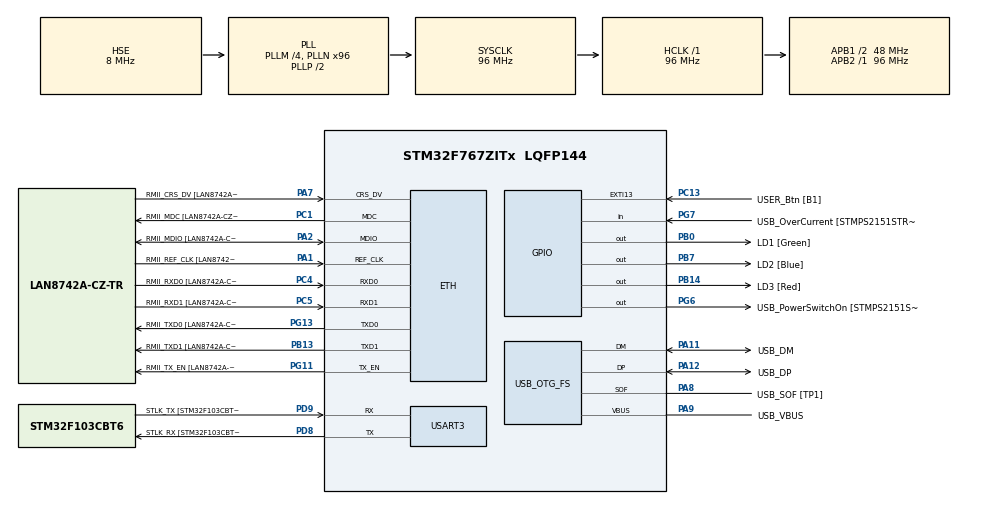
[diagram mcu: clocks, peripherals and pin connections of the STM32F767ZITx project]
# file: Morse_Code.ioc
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ETH.MediaInterface=HAL_ETH_RMII_MODE
ETH.PHY_Name=LAN8742A_PHY_ADDRESS
ETH.PHY_Value=0
ETH.PhyAddress=0
Mcu.Family=STM32F7
Mcu.Name=STM32F767ZITx
Mcu.Package=LQFP144
NVIC.PriorityGroup=NVIC_PRIORITYGROUP_4
NVIC.USART3_IRQn=true\:0\:0\:false\:false\:true\:true\:true\:true
PA1.GPIO_Label=RMII_REF_CLK [LAN8742A-CZ-TR_REFCLK0]
PA1.Mode=RMII
PA1.Signal=ETH_REF_CLK
PA10.GPIO_Label=USB_ID
PA10.Signal=USB_OTG_FS_ID
PA11.GPIO_Label=USB_DM
PA11.Mode=Device_Only
PA11.Signal=USB_OTG_FS_DM
PA12.GPIO_Label=USB_DP
PA12.Mode=Device_Only
PA12.Signal=USB_OTG_FS_DP
PA13.GPIO_Label=TMS
PA13.Mode=Serial_Wire
PA13.Signal=SYS_JTMS-SWDIO
PA14.GPIO_Label=TCK
PA14.Mode=Serial_Wire
PA14.Signal=SYS_JTCK-SWCLK
PA2.GPIO_Label=RMII_MDIO [LAN8742A-CZ-TR_MDIO]
PA2.Mode=RMII
PA2.Signal=ETH_MDIO
PA7.GPIO_Label=RMII_CRS_DV [LAN8742A-CZ-TR_CRS_DV]
PA7.Mode=RMII
PA7.Signal=ETH_CRS_DV
PA8.GPIO_Label=USB_SOF [TP1]
PA8.Mode=Activate_SOF_FS
PA8.Signal=USB_OTG_FS_SOF
PA9.GPIO_Label=USB_VBUS
PA9.Mode=Activate_VBUS
PA9.Signal=USB_OTG_FS_VBUS
PB0.GPIO_Label=LD1 [Green]
PB0.Signal=GPIO_Output
PB13.GPIO_Label=RMII_TXD1 [LAN8742A-CZ-TR_TXD1]
PB13.Mode=RMII
PB13.Signal=ETH_TXD1
PB14.GPIO_Label=LD3 [Red]
PB14.Signal=GPIO_Output
PB3.GPIO_Label=SWO
PB3.Signal=SYS_JTDO-SWO
PB7.GPIO_Label=LD2 [Blue]
PB7.Signal=GPIO_Output
PC1.GPIO_Label=RMII_MDC [LAN8742A-CZ-TR_MDC]
PC1.Mode=RMII
PC1.Signal=ETH_MDC
PC13.GPIO_Label=USER_Btn [B1]
PC13.Signal=GPXTI13
PC14/OSC32_IN.Mode=LSE-External-Oscillator
PC14/OSC32_IN.Signal=RCC_OSC32_IN
PC15/OSC32_OUT.Mode=LSE-External-Oscillator
PC15/OSC32_OUT.Signal=RCC_OSC32_OUT
PC4.GPIO_Label=RMII_RXD0 [LAN8742A-CZ-TR_RXD0]
PC4.Mode=RMII
PC4.Signal=ETH_RXD0
PC5.GPIO_Label=RMII_RXD1 [LAN8742A-CZ-TR_RXD1]
PC5.Mode=RMII
PC5.Signal=ETH_RXD1
PD8.GPIO_Label=STLK_RX [STM32F103CBT6_PA3]
PD8.Mode=Asynchronous
PD8.Signal=USART3_TX
PD9.GPIO_Label=STLK_TX [STM32F103CBT6_PA2]
PD9.Mode=Asynchronous
PD9.Signal=USART3_RX
PG11.GPIO_Label=RMII_TX_EN [LAN8742A-CZ-TR_TXEN]
PG11.Mode=RMII
PG11.Signal=ETH_TX_EN
PG13.GPIO_Label=RMII_TXD0 [LAN8742A-CZ-TR_TXD0]
PG13.Mode=RMII
PG13.Signal=ETH_TXD0
PG6.GPIO_Label=USB_PowerSwitchOn [STMPS2151STR_EN]
PG6.Signal=GPIO_Output
PG7.GPIO_Label=USB_OverCurrent [STMPS2151STR_FAULT]
PG7.Signal=GPIO_Input
PH0/OSC_IN.GPIO_Label=MCO [STM32F103CBT6_PA8]
PH0/OSC_IN.Mode=HSE-External-Clock-Source
PH0/OSC_IN.Signal=RCC_OSC_IN
PH1/OSC_OUT.Mode=HSE-External-Clock-Source
PH1/OSC_OUT.Signal=RCC_OSC_OUT
ProjectManager.HeapSize=0x200
ProjectManager.StackSize=0x400
ProjectManager.TargetToolchain=STM32CubeIDE
RCC.48MHZClocksFreq_Value=24000000
RCC.AHBFreq_Value=96000000
RCC.APB1CLKDivider=RCC_HCLK_DIV2
RCC.APB1Freq_Value=48000000
RCC.APB1TimFreq_Value=96000000
RCC.APB2Freq_Value=96000000
RCC.APB2TimFreq_Value=96000000
RCC.CortexFreq_Value=96000000
RCC.HCLKFreq_Value=96000000
RCC.HSE_VALUE=8000000
RCC.HSI_VALUE=16000000
RCC.PLLM=4
RCC.PLLMUL=RCC_PLL_MUL9
RCC.PLLN=96
RCC.PLLQ=4
RCC.PRESCALERUSB=RCC_USBCLKSOURCE_PLL_DIV1_5
RCC.SYSCLKFreq_VALUE=96000000
RCC.SYSCLKSource=RCC_SYSCLKSOURCE_PLLCLK
RCC.SYSCLKSourceVirtual=RCC_SYSCLKSOURCE_PLLCLK
RCC.USBFreq_Value=48000000
RCC.VCOOutputFreq_Value=192000000
USART3.VirtualMode-Asynchronous=VM_ASYNC
USB_OTG_FS.VirtualMode=Device_Only
board=NUCLEO-F767ZI

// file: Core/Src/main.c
/* USER CODE BEGIN Header */
/**
  ******************************************************************************
  * @file           : main.c
  * @brief          : Main program body
  ******************************************************************************
  * @attention
  *
  * Copyright (c) 2025 STMicroelectronics.
  * All rights reserved.
  *
  * This software is licensed under terms that can be found in the LICENSE file
  * in the root directory of this software component.
  * If no LICENSE file comes with this software, it is provided AS-IS.
  *
  ******************************************************************************
  */
/* USER CODE END Header */
#include "main.h"
#include "string.h"

/* USER CODE BEGIN Includes */
#include <ctype.h>

/* USER CODE END Includes */

/* USER CODE BEGIN PTD */
typedef struct {
    char letter;
    const char* code;
} MorseCode;

/* USER CODE END PTD */

/* USER CODE BEGIN PD */
#define MAX_LEN 100
/* USER CODE END PD */

#if defined ( __ICCARM__ ) /*!< IAR Compiler */
#pragma location=0x2007c000
ETH_DMADescTypeDef  DMARxDscrTab[ETH_RX_DESC_CNT]; /* Ethernet Rx DMA Descriptors */
#pragma location=0x2007c0a0
ETH_DMADescTypeDef  DMATxDscrTab[ETH_TX_DESC_CNT]; /* Ethernet Tx DMA Descriptors */

#elif defined ( __CC_ARM )  /* MDK ARM Compiler */

__attribute__((at(0x2007c000))) ETH_DMADescTypeDef  DMARxDscrTab[ETH_RX_DESC_CNT]; /* Ethernet Rx DMA Descriptors */
__attribute__((at(0x2007c0a0))) ETH_DMADescTypeDef  DMATxDscrTab[ETH_TX_DESC_CNT]; /* Ethernet Tx DMA Descriptors */

#elif defined ( __GNUC__ ) /* GNU Compiler */

ETH_DMADescTypeDef DMARxDscrTab[ETH_RX_DESC_CNT] __attribute__((section(".RxDecripSection"))); /* Ethernet Rx DMA Descriptors */
ETH_DMADescTypeDef DMATxDscrTab[ETH_TX_DESC_CNT] __attribute__((section(".TxDecripSection")));   /* Ethernet Tx DMA Descriptors */
#endif

ETH_TxPacketConfig TxConfig;

ETH_HandleTypeDef heth;

UART_HandleTypeDef huart3;

PCD_HandleTypeDef hpcd_USB_OTG_FS;

/* USER CODE BEGIN PV */
char rx_buffer[MAX_LEN];
uint8_t idx = 0;
uint8_t rx_byte;
char morse_sequence[1000] = "";

const MorseCode morse_table[] = {
    {'a', ".-"},   {'b', "-..."}, {'c', "-.-."}, {'d', "-.."},  {'e', "."},
    {'f', "..-."}, {'g', "--."},  {'h', "...."}, {'i', ".."},   {'j', ".---"},
    {'k', "-.-"},  {'l', ".-.."}, {'m', "--"},   {'n', "-."},   {'o', "---"},
    {'p', ".--."}, {'q', "--.-"}, {'r', ".-."},  {'s', "..."},  {'t', "-"},
    {'u', "..-"},  {'v', "...-"}, {'w', ".--"},  {'x', "-..-"}, {'y', "-.--"},
    {'z', "--.."}, {' ', " "} // space between words
};

/* USER CODE END PV */

void SystemClock_Config(void);
static void MX_GPIO_Init(void);
static void MX_ETH_Init(void);
static void MX_USART3_UART_Init(void);
static void MX_USB_OTG_FS_PCD_Init(void);
/* USER CODE BEGIN PFP */
void convert_to_morse(const char* input, char* output);
const char* get_morse(char ch);
/* USER CODE END PFP */

/* USER CODE BEGIN 0 */
void HAL_UART_RxCpltCallback(UART_HandleTypeDef *huart) {
    if (huart->Instance == USART3) {
        if (rx_byte == '\r' || rx_byte == '\n') {
            rx_buffer[idx] = '\0'; // null terminate
            idx = 0;

            convert_to_morse(rx_buffer, morse_sequence);
            HAL_UART_Transmit(&huart3, (uint8_t*)morse_sequence, strlen(morse_sequence), HAL_MAX_DELAY);

            memset(rx_buffer, 0, MAX_LEN);
        } else {
            rx_buffer[idx++] = rx_byte;
            if (idx >= MAX_LEN) idx = 0; // simple overflow protection
        }

        HAL_UART_Receive_IT(&huart3, &rx_byte, 1);

    }

}

void flash_dot() {
    HAL_GPIO_WritePin(GPIOB, GPIO_PIN_0, GPIO_PIN_SET);
    HAL_Delay(200);
    HAL_GPIO_WritePin(GPIOB, GPIO_PIN_0, GPIO_PIN_RESET);
    HAL_Delay(200);
}

void flash_dash() {
    HAL_GPIO_WritePin(GPIOB, GPIO_PIN_0, GPIO_PIN_SET);
    HAL_Delay(600);
    HAL_GPIO_WritePin(GPIOB, GPIO_PIN_0, GPIO_PIN_RESET);
    HAL_Delay(200);
}
const char* get_morse(char ch) {
    for (int i = 0; i < sizeof(morse_table)/sizeof(MorseCode); i++) {
        if (morse_table[i].letter == ch) return morse_table[i].code;
    }
    return ""; // unknown character
}

void convert_to_morse(const char* input, char* output) {
    output[0] = '\0'; // clear output
    for (int i = 0; i < strlen(input); i++) {
        const char* morse = get_morse(tolower(input[i]));
        strcat(output, morse);
        strcat(output, " "); // space between letters
    }
}

/* USER CODE END 0 */

int main(void)
{

  /* MCU Configuration--------------------------------------------------------*/

  /* Reset of all peripherals, Initializes the Flash interface and the Systick. */
  HAL_Init();

  /* Configure the system clock */
  SystemClock_Config();

  /* Initialize all configured peripherals */
  MX_GPIO_Init();
  MX_ETH_Init();
  MX_USART3_UART_Init();
  MX_USB_OTG_FS_PCD_Init();
  /* USER CODE BEGIN 2 */
  HAL_UART_Receive_IT(&huart3, &rx_byte, 1);
  /* USER CODE END 2 */

  /* Infinite loop */
  /* USER CODE BEGIN WHILE */
  while (1)
  {
	 for (int i = 0; i < strlen(morse_sequence); i++) {
	          if (morse_sequence[i] == '.') flash_dot();
	          else if (morse_sequence[i] == '-') flash_dash();
	          else if (morse_sequence[i] == ' ') HAL_Delay(700); // Space between words
	          HAL_Delay(200); // Space between symbols
	      }
	 HAL_Delay(2000); // Pause before repeating
    /* USER CODE END WHILE */

  }
}

void SystemClock_Config(void)
{
  RCC_OscInitTypeDef RCC_OscInitStruct = {0};
  RCC_ClkInitTypeDef RCC_ClkInitStruct = {0};

  /** Configure LSE Drive Capability
  */
  HAL_PWR_EnableBkUpAccess();

  /** Configure the main internal regulator output voltage
  */
  __HAL_RCC_PWR_CLK_ENABLE();
  __HAL_PWR_VOLTAGESCALING_CONFIG(PWR_REGULATOR_VOLTAGE_SCALE3);

  /** Initializes the RCC Oscillators according to the specified parameters
  * in the RCC_OscInitTypeDef structure.
  */
  RCC_OscInitStruct.OscillatorType = RCC_OSCILLATORTYPE_HSE;
  RCC_OscInitStruct.HSEState = RCC_HSE_BYPASS;
  RCC_OscInitStruct.PLL.PLLState = RCC_PLL_ON;
  RCC_OscInitStruct.PLL.PLLSource = RCC_PLLSOURCE_HSE;
  RCC_OscInitStruct.PLL.PLLM = 4;
  RCC_OscInitStruct.PLL.PLLN = 96;
  RCC_OscInitStruct.PLL.PLLP = RCC_PLLP_DIV2;
  RCC_OscInitStruct.PLL.PLLQ = 4;
  RCC_OscInitStruct.PLL.PLLR = 2;
  if (HAL_RCC_OscConfig(&RCC_OscInitStruct) != HAL_OK)
  {
    Error_Handler();
  }

  /** Activate the Over-Drive mode
  */
  if (HAL_PWREx_EnableOverDrive() != HAL_OK)
  {
    Error_Handler();
  }

  /** Initializes the CPU, AHB and APB buses clocks
  */
  RCC_ClkInitStruct.ClockType = RCC_CLOCKTYPE_HCLK|RCC_CLOCKTYPE_SYSCLK
                              |RCC_CLOCKTYPE_PCLK1|RCC_CLOCKTYPE_PCLK2;
  RCC_ClkInitStruct.SYSCLKSource = RCC_SYSCLKSOURCE_PLLCLK;
  RCC_ClkInitStruct.AHBCLKDivider = RCC_SYSCLK_DIV1;
  RCC_ClkInitStruct.APB1CLKDivider = RCC_HCLK_DIV2;
  RCC_ClkInitStruct.APB2CLKDivider = RCC_HCLK_DIV1;

  if (HAL_RCC_ClockConfig(&RCC_ClkInitStruct, FLASH_LATENCY_3) != HAL_OK)
  {
    Error_Handler();
  }
}

static void MX_ETH_Init(void)
{

   static uint8_t MACAddr[6];

  heth.Instance = ETH;
  MACAddr[0] = 0x00;
  MACAddr[1] = 0x80;
  MACAddr[2] = 0xE1;
  MACAddr[3] = 0x00;
  MACAddr[4] = 0x00;
  MACAddr[5] = 0x00;
  heth.Init.MACAddr = &MACAddr[0];
  heth.Init.MediaInterface = HAL_ETH_RMII_MODE;
  heth.Init.TxDesc = DMATxDscrTab;
  heth.Init.RxDesc = DMARxDscrTab;
  heth.Init.RxBuffLen = 1524;

  if (HAL_ETH_Init(&heth) != HAL_OK)
  {
    Error_Handler();
  }

  memset(&TxConfig, 0 , sizeof(ETH_TxPacketConfig));
  TxConfig.Attributes = ETH_TX_PACKETS_FEATURES_CSUM | ETH_TX_PACKETS_FEATURES_CRCPAD;
  TxConfig.ChecksumCtrl = ETH_CHECKSUM_IPHDR_PAYLOAD_INSERT_PHDR_CALC;
  TxConfig.CRCPadCtrl = ETH_CRC_PAD_INSERT;

}

static void MX_USART3_UART_Init(void)
{

  huart3.Instance = USART3;
  huart3.Init.BaudRate = 115200;
  huart3.Init.WordLength = UART_WORDLENGTH_8B;
  huart3.Init.StopBits = UART_STOPBITS_1;
  huart3.Init.Parity = UART_PARITY_NONE;
  huart3.Init.Mode = UART_MODE_TX_RX;
  huart3.Init.HwFlowCtl = UART_HWCONTROL_NONE;
  huart3.Init.OverSampling = UART_OVERSAMPLING_16;
  huart3.Init.OneBitSampling = UART_ONE_BIT_SAMPLE_DISABLE;
  huart3.AdvancedInit.AdvFeatureInit = UART_ADVFEATURE_NO_INIT;
  if (HAL_UART_Init(&huart3) != HAL_OK)
  {
    Error_Handler();
  }

}

static void MX_USB_OTG_FS_PCD_Init(void)
{

  hpcd_USB_OTG_FS.Instance = USB_OTG_FS;
  hpcd_USB_OTG_FS.Init.dev_endpoints = 6;
  hpcd_USB_OTG_FS.Init.speed = PCD_SPEED_FULL;
  hpcd_USB_OTG_FS.Init.dma_enable = DISABLE;
  hpcd_USB_OTG_FS.Init.phy_itface = PCD_PHY_EMBEDDED;
  hpcd_USB_OTG_FS.Init.Sof_enable = ENABLE;
  hpcd_USB_OTG_FS.Init.low_power_enable = DISABLE;
  hpcd_USB_OTG_FS.Init.lpm_enable = DISABLE;
  hpcd_USB_OTG_FS.Init.vbus_sensing_enable = ENABLE;
  hpcd_USB_OTG_FS.Init.use_dedicated_ep1 = DISABLE;
  if (HAL_PCD_Init(&hpcd_USB_OTG_FS) != HAL_OK)
  {
    Error_Handler();
  }

}

static void MX_GPIO_Init(void)
{
  GPIO_InitTypeDef GPIO_InitStruct = {0};

  /* GPIO Ports Clock Enable */
  __HAL_RCC_GPIOC_CLK_ENABLE();
  __HAL_RCC_GPIOH_CLK_ENABLE();
  __HAL_RCC_GPIOA_CLK_ENABLE();
  __HAL_RCC_GPIOB_CLK_ENABLE();
  __HAL_RCC_GPIOD_CLK_ENABLE();
  __HAL_RCC_GPIOG_CLK_ENABLE();

  /*Configure GPIO pin Output Level */
  HAL_GPIO_WritePin(GPIOB, LD1_Pin|LD3_Pin|LD2_Pin, GPIO_PIN_RESET);

  /*Configure GPIO pin Output Level */
  HAL_GPIO_WritePin(USB_PowerSwitchOn_GPIO_Port, USB_PowerSwitchOn_Pin, GPIO_PIN_RESET);

  /*Configure GPIO pin : USER_Btn_Pin */
  GPIO_InitStruct.Pin = USER_Btn_Pin;
  GPIO_InitStruct.Mode = GPIO_MODE_IT_RISING;
  GPIO_InitStruct.Pull = GPIO_NOPULL;
  HAL_GPIO_Init(USER_Btn_GPIO_Port, &GPIO_InitStruct);

  /*Configure GPIO pins : LD1_Pin LD3_Pin LD2_Pin */
  GPIO_InitStruct.Pin = LD1_Pin|LD3_Pin|LD2_Pin;
  GPIO_InitStruct.Mode = GPIO_MODE_OUTPUT_PP;
  GPIO_InitStruct.Pull = GPIO_NOPULL;
  GPIO_InitStruct.Speed = GPIO_SPEED_FREQ_LOW;
  HAL_GPIO_Init(GPIOB, &GPIO_InitStruct);

  /*Configure GPIO pin : USB_PowerSwitchOn_Pin */
  GPIO_InitStruct.Pin = USB_PowerSwitchOn_Pin;
  GPIO_InitStruct.Mode = GPIO_MODE_OUTPUT_PP;
  GPIO_InitStruct.Pull = GPIO_NOPULL;
  GPIO_InitStruct.Speed = GPIO_SPEED_FREQ_LOW;
  HAL_GPIO_Init(USB_PowerSwitchOn_GPIO_Port, &GPIO_InitStruct);

  /*Configure GPIO pin : USB_OverCurrent_Pin */
  GPIO_InitStruct.Pin = USB_OverCurrent_Pin;
  GPIO_InitStruct.Mode = GPIO_MODE_INPUT;
  GPIO_InitStruct.Pull = GPIO_NOPULL;
  HAL_GPIO_Init(USB_OverCurrent_GPIO_Port, &GPIO_InitStruct);

}

void Error_Handler(void)
{
  __disable_irq();
  while (1)
  {
  }
}
